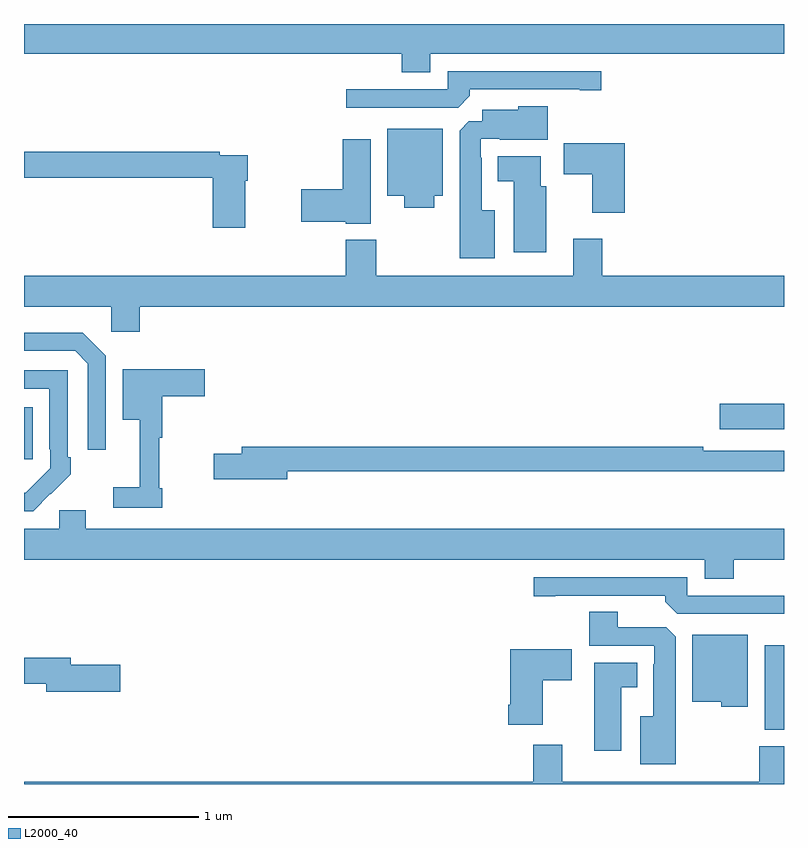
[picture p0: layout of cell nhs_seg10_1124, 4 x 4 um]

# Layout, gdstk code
import gdstk
lib = gdstk.Library(unit=1e-6, precision=1e-09)
def R(c, l, rs):  # rectangles x0, y0, x1, y1
    for r in rs: c.add(gdstk.rectangle(r[:2], r[2:], *l))
def P(c, l, *ps):  # polygons
    for p in ps: c.add(gdstk.Polygon(p, *l))
L2000_40 = (2000, 40)

nhs_seg10_1124 = lib.new_cell('nhs_seg10_1124')
R(nhs_seg10_1124, L2000_40, [(172.898,1268.785,173,1269.229), (169,1270.209,169.045,1270.483), (172.662,1270.367,173,1270.502)])
P(nhs_seg10_1124, L2000_40, [(171.139,1272.344),(173,1272.344),(173,1272.5),(169,1272.5),(169,1272.344),(170.987,1272.344),(170.987,1272.245),(171.139,1272.245)],
  [(171.347,1272.122),(171.347,1272.156),(171.926,1272.156),(171.926,1272.151),(172.039,1272.151),(172.039,1272.252),(171.231,1272.252),(171.231,1272.156),(170.697,1272.156),(170.697,1272.06),(171.285,1272.06)],
  [(171.478,1271.521),(171.409,1271.521),(171.409,1271.795),(171.405,1271.795),(171.405,1271.895),(171.505,1271.895),(171.505,1271.891),(171.757,1271.891),(171.757,1272.067),(171.6,1272.067),(171.6,1272.049),(171.413,1272.049),(171.413,1271.988),(171.342,1271.988),(171.293,1271.939),(171.293,1271.267),(171.478,1271.267)],
  [(171.16,1271.597),(171.205,1271.597),(171.205,1271.95),(170.912,1271.95),(170.912,1271.597),(171.002,1271.597),(171.002,1271.534),(171.16,1271.534)],
  [(170.824,1271.893),(170.678,1271.893),(170.678,1271.63),(170.46,1271.63),(170.46,1271.459),(170.694,1271.459),(170.694,1271.45),(170.824,1271.45)],
  [(172.162,1271.872),(171.84,1271.872),(171.84,1271.71),(171.992,1271.71),(171.992,1271.507),(172.162,1271.507)],
  [(170.164,1271.675),(170.177,1271.675),(170.177,1271.808),(170.03,1271.808),(170.03,1271.828),(169,1271.828),(169,1271.692),(169.994,1271.692),(169.994,1271.427),(170.164,1271.427)],
  [(171.748,1271.646),(171.721,1271.646),(171.721,1271.803),(171.494,1271.803),(171.494,1271.672),(171.578,1271.672),(171.578,1271.298),(171.748,1271.298)],
  [(169.61,1271.012),(173,1271.012),(173,1271.176),(172.043,1271.176),(172.043,1271.371),(171.89,1271.371),(171.89,1271.176),(170.853,1271.176),(170.853,1271.365),(170.693,1271.365),(170.693,1271.176),(169,1271.176),(169,1271.012),(169.458,1271.012),(169.458,1270.881),(169.61,1270.881)],
  [(169.431,1270.755),(169.31,1270.876),(169,1270.876),(169,1270.779),(169.269,1270.779),(169.335,1270.713),(169.335,1270.26),(169.431,1270.26)],
  [(169.727,1270.057),(169.712,1270.057),(169.712,1270.322),(169.727,1270.322),(169.727,1270.541),(169.951,1270.541),(169.951,1270.683),(169.52,1270.683),(169.52,1270.418),(169.61,1270.418),(169.61,1270.063),(169.47,1270.063),(169.47,1269.954),(169.727,1269.954)],
  [(169.139,1270.027),(169.14,1270.026),(169.245,1270.131),(169.245,1270.219),(169.23,1270.219),(169.23,1270.677),(169,1270.677),(169,1270.581),(169.134,1270.581),(169.134,1270.261),(169.137,1270.261),(169.137,1270.161),(169.009,1270.033),(169,1270.033),(169,1269.936),(169.048,1269.936)],
  [(170.386,1270.146),(173,1270.146),(173,1270.254),(172.574,1270.254),(172.574,1270.274),(170.147,1270.274),(170.147,1270.238),(169.998,1270.238),(169.998,1270.103),(170.386,1270.103)],
  [(172.736,1269.68),(173,1269.68),(173,1269.844),(169.324,1269.844),(169.324,1269.942),(169.185,1269.942),(169.185,1269.844),(169,1269.844),(169,1269.68),(172.583,1269.68),(172.583,1269.581),(172.736,1269.581)],
  [(173,1269.492),(172.491,1269.492),(172.491,1269.588),(171.684,1269.588),(171.684,1269.487),(171.796,1269.487),(171.796,1269.492),(172.376,1269.492),(172.376,1269.458),(172.437,1269.396),(173,1269.396)],
  [(172.429,1269.275),(172.38,1269.324),(172.126,1269.324),(172.126,1269.407),(171.974,1269.407),(171.974,1269.228),(172.317,1269.228),(172.317,1269.131),(172.313,1269.131),(172.313,1268.857),(172.244,1268.857),(172.244,1268.603),(172.429,1268.603)],
  [(172.81,1269.286),(172.517,1269.286),(172.517,1268.933),(172.671,1268.933),(172.671,1268.906),(172.81,1268.906)],
  [(171.73,1269.046),(171.883,1269.046),(171.883,1269.208),(171.56,1269.208),(171.56,1268.917),(171.548,1268.917),(171.548,1268.813),(171.73,1268.813)],
  [(169.507,1269.128),(169.246,1269.128),(169.246,1269.164),(169,1269.164),(169,1269.028),(169.118,1269.028),(169.118,1268.986),(169.507,1268.986)],
  [(172.144,1269.008),(172.228,1269.008),(172.228,1269.139),(172.001,1269.139),(172.001,1268.676),(172.144,1268.676)],
  [(173,1268.7),(172.87,1268.7),(172.87,1268.512),(171.832,1268.512),(171.832,1268.707),(171.68,1268.707),(171.68,1268.512),(169,1268.512),(169,1268.5),(173,1268.5)])

lib.write_gds('nhs_seg10_1124.gds')
